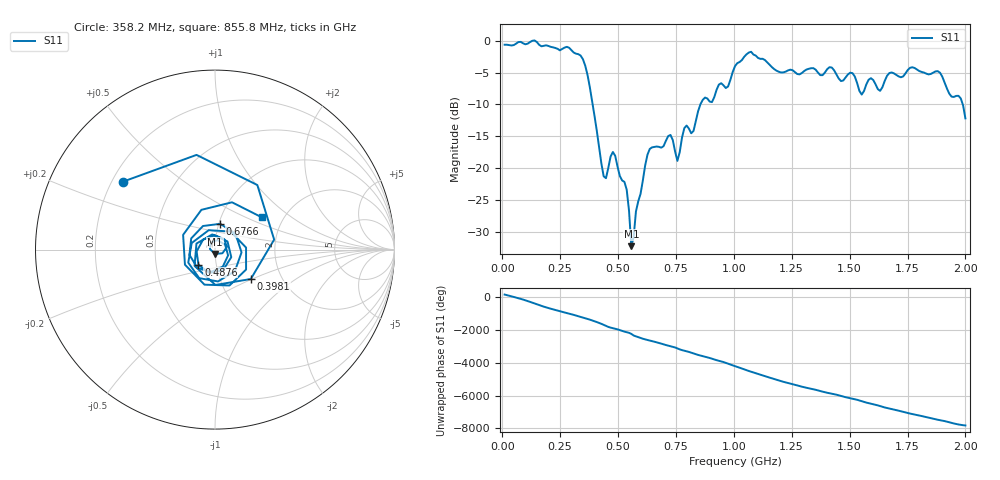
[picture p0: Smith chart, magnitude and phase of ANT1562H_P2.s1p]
!Created with skrf (http://scikit-rf.org).
# Hz S RI R 50.0
!freq ReS11 ImS11
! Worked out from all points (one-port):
!   201 points, 10 MHz to 2 GHz, reference 50 ohm
!   lowest |S11| = -32.3 dB at 557.2 MHz (marker M1), VSWR 1.05, Z = 49.9 - j2.43 ohm
!   |S11| at or under -10 dB: 390.2 MHz to 855.6 MHz (465.3 MHz wide, 74.7 % of centre); 1.989 GHz to end of sweep
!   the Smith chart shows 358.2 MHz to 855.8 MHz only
!   S11 on the Smith chart (normalised r, x): 358.2 MHz: 0.24, +0.31; 398.1 MHz: 1.40, -0.49; 487.6 MHz: 0.82, -0.14; 676.6 MHz: 1.02, +0.30; 855.8 MHz: 1.56, +0.62
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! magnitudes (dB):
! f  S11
! 10 MHz  -0.6
! 258.8 MHz  -1.3
! 358.2 MHz  -3.9
! 398.1 MHz  -11.8
! 437.9 MHz  -21.3
! 487.6 MHz  -18.1
! 507.5 MHz  -21.2
! 537.4 MHz  -23.4
! 557.2 MHz  -32.3
! 626.9 MHz  -17.9
! 676.6 MHz  -16.7
! 726.4 MHz  -14.8
! 756.2 MHz  -18.9
! 786.1 MHz  -13.7
! 825.9 MHz  -14.2
! 855.8 MHz  -10.0
! 975.1 MHz  -7.2
! 1.005 GHz  -4.0
! 1.075 GHz  -1.7
! 1.254 GHz  -4.6
! 1.502 GHz  -5.0
! 1.552 GHz  -8.5
! 1.592 GHz  -5.9
! 1.632 GHz  -7.9
! 1.751 GHz  -4.6
! 1.891 GHz  -5.0
! 1.98 GHz  -9.1
! 2 GHz  -12.2
